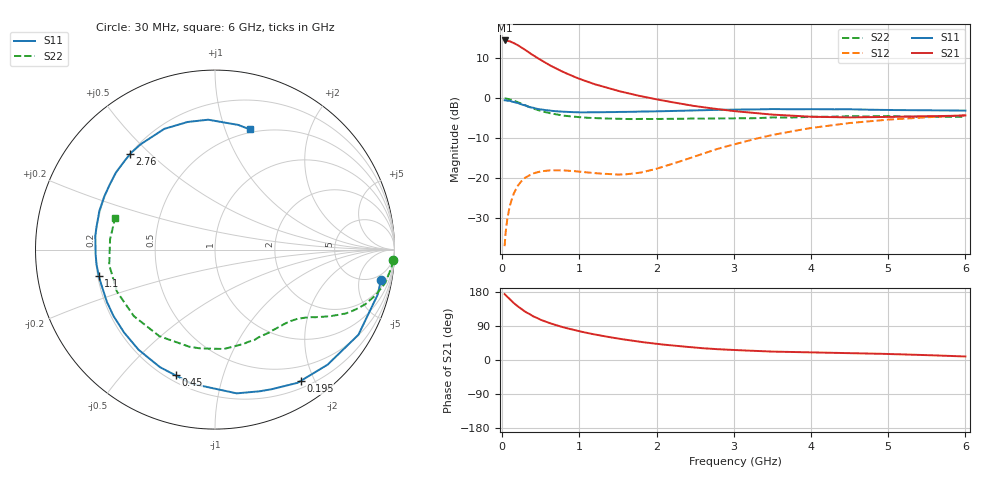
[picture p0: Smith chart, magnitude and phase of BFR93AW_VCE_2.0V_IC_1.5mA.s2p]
! Infineon Technologies  Discrete & RF Semiconductors
! BFR93AW
! VCE =  2.0 V,  IC =  1.5 mA
! Common Emitter S-Parameters:  Nov 2015
# GHz  S  MA  R  50
!  f  S11  S21  S12  S22
! GHz  MAG  ANG  MAG  ANG  MAG  ANG  MAG  ANG
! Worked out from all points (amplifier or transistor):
!   206 points, 30 MHz to 6 GHz, reference 50 ohm
!   highest |S21| = 14.5 dB at 30 MHz (marker M1)
!   |S21| within 3 dB of that: start of sweep to 343.6 MHz
!   unconditionally stable (mu >= 1): 1.294 GHz to 2.539 GHz; 5.219 GHz to end of sweep
!   at 200 MHz: K = 0.14, MSG = 17.7 dB, |S12| = -22.0 dB
!   at 1.56 GHz: K = 1.18, MAG = 7.8 dB, |S12| = -19.2 dB
!   at 6 GHz: K = 1.01, MAG = -0.7 dB, |S12| = -4.3 dB
!   S11 on the Smith chart (normalised r, x): 30 MHz: 3, -10; 195 MHz: 0.29, -1.81; 450 MHz: 0.23, -0.71; 1.1 GHz: 0.20, -0.11; 2.76 GHz: 0.20, +0.43; 6 GHz: 0.47, +1.22
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0.03  0.9399 -10.3  5.309 174.0  0.0138 86.5  0.9943 -3.5
0.055  0.9366 -16.9  5.27 168.8  0.0257 79.6  0.9858 -6.2
0.1  0.9293 -30.7  5.176 159.9  0.0451 73.7  0.9669 -11.1
0.15  0.897 -45.6  4.929 150.1  0.0635 65.0  0.9299 -15.9
0.195  0.8737 -56.9  4.664 142.6  0.0776 58.8  0.8944 -19.6
0.24  0.8396 -67.9  4.38 135.5  0.0885 53.2  0.8562 -22.7
0.3  0.8101 -81.4  4.024 127.0  0.1007 47.3  0.8099 -26.1
0.4  0.7581 -100.0  3.457 115.3  0.1132 39.4  0.7412 -30.1
0.45  0.7342 -107.4  3.225 110.9  0.1166 36.4  0.7146 -31.5
0.5  0.7232 -115.1  3.015 105.9  0.1203 33.6  0.6885 -33.1
0.6  0.702 -127.3  2.635 98.2  0.1237 29.7  0.652 -35.3
0.7  0.6857 -137.6  2.352 91.7  0.1242 27.2  0.6246 -37.5
0.82  0.6735 -148.3  2.069 84.7  0.1231 25.5  0.5991 -40.2
1.04  0.6627 -163.4  1.693 74.0  0.1184 25.3  0.5726 -45.1
1.1  0.6641 -167.1  1.614 71.2  0.1171 25.7  0.567 -46.8
1.5  0.6714 173.5  1.235 56.6  0.1096 36.2  0.5514 -57.3
2.02  0.6846 153.8  0.957 42.0  0.1316 56.9  0.5487 -73.3
2.76  0.7116 131.7  0.735 28.9  0.2257 67.3  0.5553 -97.5
3.1  0.7179 122.6  0.674 25.5  0.2783 65.3  0.558 -108.4
4.1  0.7253 100.3  0.582 19.8  0.4338 51.7  0.5829 -143.9
5.1  0.7084 84.4  0.583 15.3  0.5441 35.4  0.5912 -174.4
6  0.6974 74.0  0.606 9.3  0.6086 22.7  0.5838 162.4
